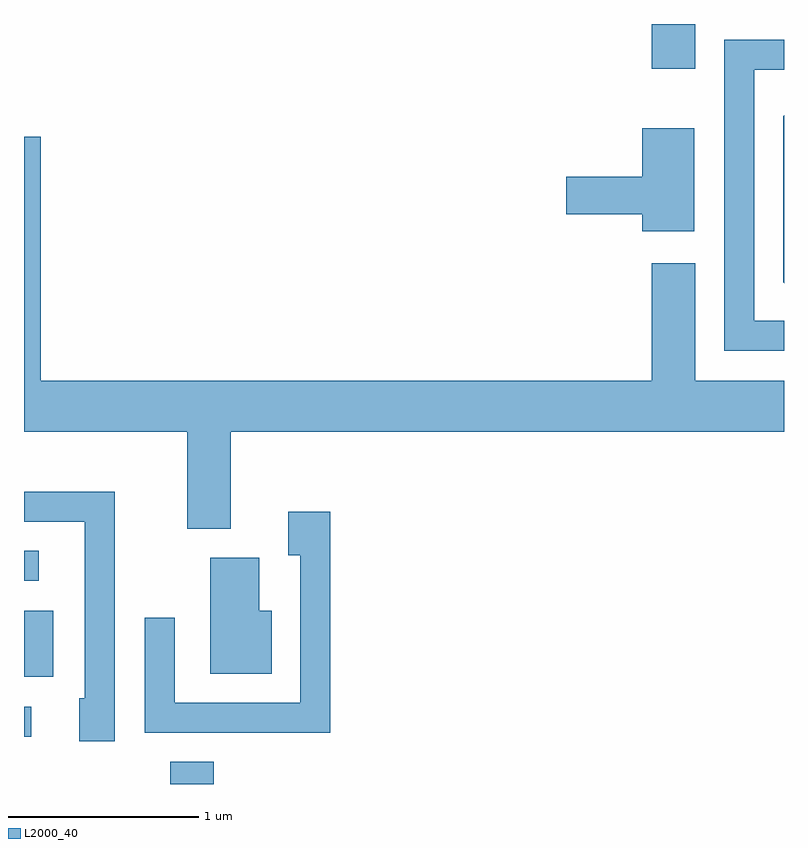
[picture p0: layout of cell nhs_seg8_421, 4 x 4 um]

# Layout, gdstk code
import gdstk
lib = gdstk.Library(unit=1e-6, precision=1e-09)
def R(c, l, rs):  # rectangles x0, y0, x1, y1
    for r in rs: c.add(gdstk.rectangle(r[:2], r[2:], *l))
def P(c, l, *ps):  # polygons
    for p in ps: c.add(gdstk.Polygon(p, *l))
L2000_40 = (2000, 40)

nhs_seg8_421 = lib.new_cell('nhs_seg8_421')
R(nhs_seg8_421, L2000_40, [(198.381,1832.342,198.609,1832.459), (197.611,1832.591,197.648,1832.749), (197.611,1832.906,197.764,1833.254), (197.611,1833.411,197.688,1833.569), (200.916,1836.106,201.144,1836.342)])
P(nhs_seg8_421, L2000_40, [(201.611,1834.779),(201.454,1834.779),(201.454,1836.101),(201.611,1836.101),(201.611,1836.259),(201.296,1836.259),(201.296,1834.621),(201.611,1834.621)],
  [(201.611,1835.862),(201.606,1835.857),(201.606,1834.982),(201.611,1834.977)],
  [(201.139,1835.794),(200.866,1835.794),(200.866,1835.539),(200.466,1835.539),(200.466,1835.341),(200.866,1835.341),(200.866,1835.251),(201.139,1835.251)],
  [(198.699,1834.196),(201.611,1834.196),(201.611,1834.464),(201.144,1834.464),(201.144,1835.084),(200.916,1835.084),(200.916,1834.464),(197.699,1834.464),(197.699,1835.749),(197.611,1835.749),(197.611,1834.196),(198.471,1834.196),(198.471,1833.686),(198.699,1833.686)],
  [(198.089,1833.879),(197.611,1833.879),(197.611,1833.721),(197.931,1833.721),(197.931,1832.794),(197.901,1832.794),(197.901,1832.566),(198.089,1832.566)],
  [(199.224,1833.774),(199.001,1833.774),(199.001,1833.546),(199.066,1833.546),(199.066,1832.769),(198.404,1832.769),(198.404,1833.218),(198.246,1833.218),(198.246,1832.611),(199.224,1832.611)],
  [(198.914,1833.254),(198.849,1833.254),(198.849,1833.534),(198.591,1833.534),(198.591,1832.921),(198.914,1832.921)])

lib.write_gds('nhs_seg8_421.gds')
